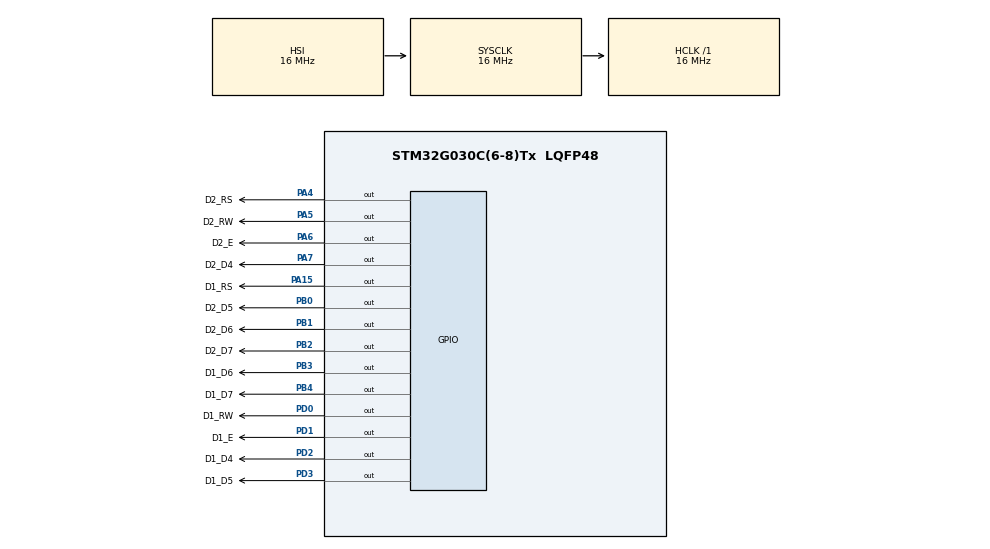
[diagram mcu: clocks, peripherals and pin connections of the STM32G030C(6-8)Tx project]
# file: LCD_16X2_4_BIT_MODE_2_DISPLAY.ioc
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Mcu.Family=STM32G0
Mcu.Name=STM32G030C(6-8)Tx
Mcu.Package=LQFP48
PA13.Mode=Serial_Wire
PA13.Signal=SYS_SWDIO
PA14-BOOT0.Mode=Serial_Wire
PA14-BOOT0.Signal=SYS_SWCLK
PA15.GPIO_Label=D1_RS
PA15.Signal=GPIO_Output
PA4.GPIO_Label=D2_RS
PA4.Signal=GPIO_Output
PA5.GPIO_Label=D2_RW
PA5.Signal=GPIO_Output
PA6.GPIO_Label=D2_E
PA6.Signal=GPIO_Output
PA7.GPIO_Label=D2_D4
PA7.Signal=GPIO_Output
PB0.GPIO_Label=D2_D5
PB0.Signal=GPIO_Output
PB1.GPIO_Label=D2_D6
PB1.Signal=GPIO_Output
PB2.GPIO_Label=D2_D7
PB2.Signal=GPIO_Output
PB3.GPIO_Label=D1_D6
PB3.Signal=GPIO_Output
PB4.GPIO_Label=D1_D7
PB4.Signal=GPIO_Output
PD0.GPIO_Label=D1_RW
PD0.Signal=GPIO_Output
PD1.GPIO_Label=D1_E
PD1.Signal=GPIO_Output
PD2.GPIO_Label=D1_D4
PD2.Signal=GPIO_Output
PD3.GPIO_Label=D1_D5
PD3.Signal=GPIO_Output
ProjectManager.HeapSize=0x200
ProjectManager.StackSize=0x400
ProjectManager.TargetToolchain=STM32CubeIDE
RCC.AHBFreq_Value=16000000
RCC.CortexFreq_Value=16000000
RCC.EXTERNAL_CLOCK_VALUE=12288000
RCC.HCLKFreq_Value=16000000
RCC.HSE_VALUE=8000000
RCC.HSI_VALUE=16000000
RCC.LSE_VALUE=32768
RCC.SYSCLKFreq_VALUE=16000000
RCC.VCOOutputFreq_Value=128000000
board=custom

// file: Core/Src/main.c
/* USER CODE BEGIN Header */
/**
  ******************************************************************************
  * @file           : main.c
  * @brief          : Main program body
  ******************************************************************************
  * @attention
  *
  * Copyright (c) 2023 STMicroelectronics.
  * All rights reserved.
  *
  * This software is licensed under terms that can be found in the LICENSE file
  * in the root directory of this software component.
  * If no LICENSE file comes with this software, it is provided AS-IS.
  *
  ******************************************************************************
  */
/* USER CODE END Header */
#include "main.h"

/* USER CODE BEGIN Includes */
#include "lcd.h"
/* USER CODE END Includes */

void SystemClock_Config(void);
static void MX_GPIO_Init(void);

int main(void)
{

  /* MCU Configuration--------------------------------------------------------*/

  /* Reset of all peripherals, Initializes the Flash interface and the Systick. */
  HAL_Init();

  /* Configure the system clock */
  SystemClock_Config();

  /* Initialize all configured peripherals */
  MX_GPIO_Init();
  /* USER CODE BEGIN 2 */
  //create the lcd object for 4 bits  and 16x2 mode
  lcd_t lcd_1= lcd_create_4_bit(D1_RS_GPIO_Port, D1_RW_GPIO_Port, D1_E_GPIO_Port,
  								D1_RS_Pin, D1_RW_Pin, D1_E_Pin,
  								D1_D7_GPIO_Port, D1_D6_GPIO_Port, D1_D5_GPIO_Port, D1_D4_GPIO_Port,
  								D1_D7_Pin,D1_D6_Pin, D1_D5_Pin,D1_D4_Pin,lcd_chr_16x2_mode);

  lcd_t lcd_2= lcd_create_4_bit(D2_RS_GPIO_Port, D2_RW_GPIO_Port, D2_E_GPIO_Port,
  								D2_RS_Pin, D2_RW_Pin, D2_E_Pin,
  								D2_D7_GPIO_Port, D2_D6_GPIO_Port, D2_D5_GPIO_Port, D2_D4_GPIO_Port,
  								D2_D7_Pin,D2_D6_Pin, D2_D5_Pin,D2_D4_Pin,lcd_chr_16x2_mode);
  lcd_clear(&lcd_1);//clear display 1
  lcd_clear(&lcd_2);//clear display 2
  lcd_set_cursor(&lcd_1, 0, 0);
  lcd_print_string(&lcd_1, "TEST LCD 1");
  lcd_set_cursor(&lcd_1, 1, 0);
  lcd_print_string(&lcd_1, "4 bit mode 16x2");

  lcd_set_cursor(&lcd_2, 0, 0);
  lcd_print_string(&lcd_2, "TEST LCD 2");
  lcd_set_cursor(&lcd_2, 1, 0);
  lcd_print_string(&lcd_2, "4 bit mode 16x2");
  uint8_t counter_1=0;//var to show counter in lcd
  char buffer_1 [16];
  uint8_t counter_2=0;//var to show counter in lcd
  char buffer_2 [16];
  HAL_Delay(1500);
  lcd_clear(&lcd_1);//clear lcd
  lcd_clear(&lcd_2);//clear lcd
  /* USER CODE END 2 */

  /* Infinite loop */
  while (1)
  {

    /* USER CODE BEGIN 3 */

/*Display 1*/
	  sprintf(buffer_1,"%3d",counter_1);
	  lcd_set_cursor(&lcd_1, 0, 0);
	  lcd_print_string(&lcd_1, "Counter:");
	  lcd_set_cursor(&lcd_1, 0, 9);
	  lcd_print_string(&lcd_1,buffer_1 );
	 counter_1++;

/*Display 2*/
	  sprintf(buffer_2,"%3d",counter_2);
	  lcd_set_cursor(&lcd_2, 0, 0);
	  lcd_print_string(&lcd_2, "Counter:");
	  lcd_set_cursor(&lcd_2, 0, 9);
	  lcd_print_string(&lcd_2,buffer_2 );
	 counter_2++;
	 HAL_Delay(1000);

  }
  /* USER CODE END 3 */
}

void SystemClock_Config(void)
{
  RCC_OscInitTypeDef RCC_OscInitStruct = {0};
  RCC_ClkInitTypeDef RCC_ClkInitStruct = {0};

  /** Configure the main internal regulator output voltage
  */
  HAL_PWREx_ControlVoltageScaling(PWR_REGULATOR_VOLTAGE_SCALE1);

  /** Initializes the RCC Oscillators according to the specified parameters
  * in the RCC_OscInitTypeDef structure.
  */
  RCC_OscInitStruct.OscillatorType = RCC_OSCILLATORTYPE_HSI;
  RCC_OscInitStruct.HSIState = RCC_HSI_ON;
  RCC_OscInitStruct.HSIDiv = RCC_HSI_DIV1;
  RCC_OscInitStruct.HSICalibrationValue = RCC_HSICALIBRATION_DEFAULT;
  RCC_OscInitStruct.PLL.PLLState = RCC_PLL_NONE;
  if (HAL_RCC_OscConfig(&RCC_OscInitStruct) != HAL_OK)
  {
    Error_Handler();
  }

  /** Initializes the CPU, AHB and APB buses clocks
  */
  RCC_ClkInitStruct.ClockType = RCC_CLOCKTYPE_HCLK|RCC_CLOCKTYPE_SYSCLK
                              |RCC_CLOCKTYPE_PCLK1;
  RCC_ClkInitStruct.SYSCLKSource = RCC_SYSCLKSOURCE_HSI;
  RCC_ClkInitStruct.AHBCLKDivider = RCC_SYSCLK_DIV1;
  RCC_ClkInitStruct.APB1CLKDivider = RCC_HCLK_DIV1;

  if (HAL_RCC_ClockConfig(&RCC_ClkInitStruct, FLASH_LATENCY_0) != HAL_OK)
  {
    Error_Handler();
  }
}

static void MX_GPIO_Init(void)
{
  GPIO_InitTypeDef GPIO_InitStruct = {0};

  /* GPIO Ports Clock Enable */
  __HAL_RCC_GPIOA_CLK_ENABLE();
  __HAL_RCC_GPIOB_CLK_ENABLE();
  __HAL_RCC_GPIOD_CLK_ENABLE();

  /*Configure GPIO pin Output Level */
  HAL_GPIO_WritePin(GPIOA, D2_RS_Pin|D2_RW_Pin|D2_E_Pin|D2_D4_Pin
                          |D1_RS_Pin, GPIO_PIN_RESET);

  /*Configure GPIO pin Output Level */
  HAL_GPIO_WritePin(GPIOB, D2_D5_Pin|D2_D6_Pin|D2_D7_Pin|D1_D6_Pin
                          |D1_D7_Pin, GPIO_PIN_RESET);

  /*Configure GPIO pin Output Level */
  HAL_GPIO_WritePin(GPIOD, D1_RW_Pin|D1_E_Pin|D1_D4_Pin|D1_D5_Pin, GPIO_PIN_RESET);

  /*Configure GPIO pins : D2_RS_Pin D2_RW_Pin D2_E_Pin D2_D4_Pin
                           D1_RS_Pin */
  GPIO_InitStruct.Pin = D2_RS_Pin|D2_RW_Pin|D2_E_Pin|D2_D4_Pin
                          |D1_RS_Pin;
  GPIO_InitStruct.Mode = GPIO_MODE_OUTPUT_PP;
  GPIO_InitStruct.Pull = GPIO_NOPULL;
  GPIO_InitStruct.Speed = GPIO_SPEED_FREQ_LOW;
  HAL_GPIO_Init(GPIOA, &GPIO_InitStruct);

  /*Configure GPIO pins : D2_D5_Pin D2_D6_Pin D2_D7_Pin D1_D6_Pin
                           D1_D7_Pin */
  GPIO_InitStruct.Pin = D2_D5_Pin|D2_D6_Pin|D2_D7_Pin|D1_D6_Pin
                          |D1_D7_Pin;
  GPIO_InitStruct.Mode = GPIO_MODE_OUTPUT_PP;
  GPIO_InitStruct.Pull = GPIO_NOPULL;
  GPIO_InitStruct.Speed = GPIO_SPEED_FREQ_LOW;
  HAL_GPIO_Init(GPIOB, &GPIO_InitStruct);

  /*Configure GPIO pins : D1_RW_Pin D1_E_Pin D1_D4_Pin D1_D5_Pin */
  GPIO_InitStruct.Pin = D1_RW_Pin|D1_E_Pin|D1_D4_Pin|D1_D5_Pin;
  GPIO_InitStruct.Mode = GPIO_MODE_OUTPUT_PP;
  GPIO_InitStruct.Pull = GPIO_NOPULL;
  GPIO_InitStruct.Speed = GPIO_SPEED_FREQ_LOW;
  HAL_GPIO_Init(GPIOD, &GPIO_InitStruct);

}

void Error_Handler(void)
{
  __disable_irq();
  while (1)
  {
  }
}
